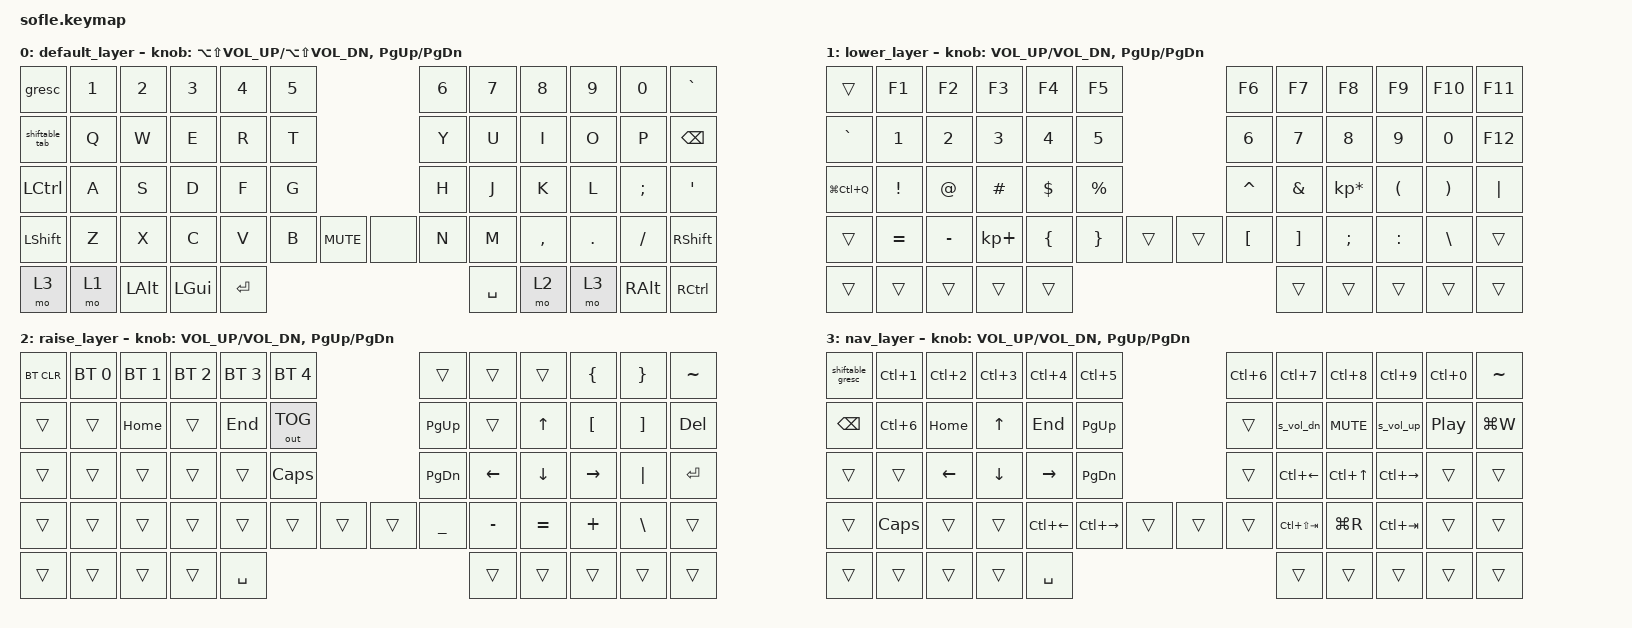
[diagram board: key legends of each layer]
/*
 * Copyright (c) 2020 The ZMK Contributors
 *
 * SPDX-License-Identifier: MIT
 */

#include <behaviors.dtsi>
#include <dt-bindings/zmk/keys.h>
#include <dt-bindings/zmk/bt.h>
#include <dt-bindings/zmk/outputs.h>

/ {
        combos {
            compatible = "zmk,combos";
            combo_c_a_r {
                timeout-ms = <50>;
                key-positions = <31 32>;
                bindings = <&kp LC(LALT)>;
            };
            combo_c_a_l {
                timeout-ms = <50>;
                key-positions = <27 28>;
                bindings = <&kp LC(LALT)>;
            };
        };
	behaviors {
	    s_vol_up: s_vol_up {
		compatible = "zmk,behavior-mod-morph";
		label = "SHIFT_VOLUME_UP";
		#binding-cells = <0>;
		bindings = <&kp C_VOL_UP>, <&kp LA(LS(C_VOL_UP))>;
		mods = <(MOD_LSFT)>;
	    };
	    s_vol_dn: s_vol_dn {
		compatible = "zmk,behavior-mod-morph";
		label = "SHIFT_VOLUME_DOWN";
		#binding-cells = <0>;
		bindings = <&kp C_VOL_DN>, <&kp LA(LS(C_VOL_DN))>;
		mods = <(MOD_LSFT)>;
	    };
	    ctrl_tab: ctrl_tab {
		compatible = "zmk,behavior-mod-morph";
		label = "GUI_CTRL_TAB";
		#binding-cells = <0>;
		bindings = <&kp LC(TAB)>, <&kp LC(LS(TAB))>;
		mods = <(MOD_LGUI)>;
	    };
	    shiftable_tab: shiftable_tab {
		compatible = "zmk,behavior-mod-morph";
		label = "CTRL_TAB";
		#binding-cells = <0>;
		bindings = <&kp TAB >, <&ctrl_tab>;
		mods = <(MOD_LCTL)>;
	    };
	    gresc: grave_escape {
		compatible = "zmk,behavior-mod-morph";
		label = "GRAVE_ESCAPE";
		#binding-cells = <0>;
		bindings = <&kp ESC>, <&kp GRAVE>;
		mods = <(MOD_LGUI)>;
		keep-mods = <(MOD_LGUI)>;
	    };
	    shiftable_gresc: shiftable_grave_escape {
		compatible = "zmk,behavior-mod-morph";
		label = "SHIFT_GRAVE_ESCAPE";
		#binding-cells = <0>;
		bindings = <&kp ESC>, <&kp LS(GRAVE)>;
		mods = <(MOD_LGUI)>;
		keep-mods = <(MOD_LGUI)>;
	    };
	};

	keymap {
	    compatible = "zmk,keymap";

	    default_layer {
	// ------------------------------------------------------------------------------------------------------------
	// |  ESC  |  1  |  2  |  3   |  4   |  5   |                   |  6   |  7    |  8    |  9   |   0   |   `   |
	// |  TAB  |  Q  |  W  |  E   |  R   |  T   |                   |  Y   |  U    |  I    |  O   |   P   | BKSPC |
	// |  CTRL |  A  |  S  |  D   |  F   |  G   |                   |  H   |  J    |  K    |  L   |   ;   |   '   |
	// | SHIFT |  Z  |  X  |  C   |  V   |  B   |  MUTE  |  |       |  N   |  M    |  ,    |  .   |   /   | SHIFT |
	//               | GUI | ALT  | CTRL | LOWER|  ENTER |  | SPACE | RAISE| CTRL  | ALT   | GUI  |

		bindings = <
	&gresc         &kp N1 &kp N2   &kp N3   &kp N4    &kp N5                         &kp N6    &kp N7    &kp N8    &kp N9    &kp N0   &kp GRAVE
	&shiftable_tab &kp Q  &kp W    &kp E    &kp R     &kp T                          &kp Y     &kp U     &kp I     &kp O     &kp P    &kp BSPC
	&kp LCTRL      &kp A  &kp S    &kp D    &kp F     &kp G                          &kp H     &kp J     &kp K     &kp L     &kp SEMI &kp SQT
	&kp LSHFT      &kp Z  &kp X    &kp C    &kp V     &kp B     &kp C_MUTE &none     &kp N     &kp M     &kp COMMA &kp DOT   &kp FSLH &kp RSHFT
        &mo 3                 &mo 1    &kp LALT &kp LGUI  &kp RET                        &kp SPACE &mo 2     &mo 3     &kp RALT           &kp RCTRL
		>;
		sensor-bindings = <&inc_dec_kp LA(LS(C_VOL_UP)) LA(LS(C_VOL_DN)) &inc_dec_kp PG_UP PG_DN>;
	    };

	    lower_layer {
	// TODO: Some binds are waiting for shifted keycode support.
	// ------------------------------------------------------------------------------------------------------------
	// |       |  F1 |  F2 |  F3  |  F4  |  F5  |                   |  F6  |  F7   |  F8   |  F9  |  F10  |  F11  |
	// | `     |   1 |   2 |   3  |   4  |   5  |                   |   6  |   7   |   8   |   9  |    0  |  F12  |
	// |       |  !  |  @  |  #   |  $   |  %   |                   |  ^   |  &    |  *    |  (   |   )   |   |   |
	// |       |  =  |  -  |  +   |  {   |  }   |        |  |       |  [   |  ]    |  ;    |  :   |   \   |       |
	//               |     |      |      |      |        |  |       |      |       |       |      |
		bindings = <
	&trans        &kp F1    &kp F2    &kp F3      &kp F4    &kp F5                    &kp F6    &kp F7   &kp F8          &kp F9    &kp F10   &kp F11
	&kp GRAVE     &kp N1    &kp N2    &kp N3      &kp N4    &kp N5                    &kp N6    &kp N7   &kp N8          &kp N9    &kp N0    &kp F12
	&kp LG(LC(Q)) &kp EXCL  &kp AT    &kp HASH    &kp DLLR  &kp PRCNT                 &kp CARET &kp AMPS &kp KP_MULTIPLY &kp LPAR  &kp RPAR  &kp PIPE
	&trans        &kp EQUAL &kp MINUS &kp KP_PLUS &kp LBRC  &kp RBRC  &trans   &trans &kp LBKT  &kp RBKT &kp SEMI        &kp COLON &kp BSLH  &trans
			    &trans    &trans      &trans    &trans    &trans   &trans &trans    &trans   &trans          &trans
		>;
		sensor-bindings = <&inc_dec_kp C_VOL_UP C_VOL_DN &inc_dec_kp PG_UP PG_DN>;
	    };

	    raise_layer {
	// ------------------------------------------------------------------------------------------------------------
	// |BTCLR| BT1  | BT2  |  BT3  |  BT4  |  BT5 |                |      |      |       |      |       |       |
	// |     | INS  | PSCR | GUI   |       |      |                | PGUP |      |   ^   |      |       |       |
	// |     | ALT  | CTRL | SHIFT |       | CAPS |                | PGDN |   <- |   v   |  ->  |  DEL  | BKSPC |
	// |     | UNDO | CUT  | COPY  | PASTE |      |      |  |      |      |      |       |      |       |       |
	//              |      |       |       |      |      |  |      |      |      |       |      |
		bindings = <
	&bt BT_CLR &bt BT_SEL 0 &bt BT_SEL 1 &bt BT_SEL 2 &bt BT_SEL 3 &bt BT_SEL 4                &trans    &trans    &trans    &kp LBRC  &kp RBRC &kp TILDE
	&trans     &trans       &kp HOME     &trans       &kp END      &out OUT_TOG                &kp PG_UP &trans    &kp UP    &kp LBKT  &kp RBKT &kp DEL
	&trans     &trans       &trans       &trans       &trans       &kp CLCK                    &kp PG_DN &kp LEFT  &kp DOWN  &kp RIGHT &kp PIPE &kp RET 
	&trans     &trans       &trans       &trans       &trans       &trans    &trans    &trans  &kp UNDER &kp MINUS &kp EQUAL &kp PLUS  &kp BSLH &trans
				&trans       &trans       &trans       &trans    &kp SPACE &trans  &trans    &trans    &trans    &trans
		>;
		sensor-bindings = <&inc_dec_kp C_VOL_UP C_VOL_DN &inc_dec_kp PG_UP PG_DN>;
	    };
            nav_layer {
                bindings = <
   &shiftable_gresc  &kp LC(N1) &kp LC(N2) &kp LC(N3) &kp LC(N4)    &kp LC(N5)                     &kp LC(N6) &kp LC(N7)      &kp LC(N8) &kp LC(N9)      &kp LC(N0) &kp TILDE
   &kp BSPC          &kp LC(N6) &kp HOME   &kp UP     &kp END       &kp PG_UP                      &trans     &s_vol_dn       &kp C_MUTE &s_vol_up       &kp C_PP   &kp LG(W) 
   &trans            &trans     &kp LEFT   &kp DOWN   &kp RIGHT     &kp PG_DN                      &trans     &kp LC(LEFT)    &kp LC(UP) &kp LC(RIGHT)   &trans     &trans 
   &trans            &kp CAPS   &trans     &trans     &kp LC(LEFT)  &kp LC(RIGHT)  &trans  &trans  &trans     &kp LC(LS(TAB)) &kp LG(R)  &kp LC(TAB)     &trans     &trans 
   &trans                       &trans     &trans     &trans        &kp SPACE                      &trans          &trans     &trans          &trans     &trans 
		>;
		sensor-bindings = <&inc_dec_kp C_VOL_UP C_VOL_DN &inc_dec_kp PG_UP PG_DN>;
	    };
      };
};

//&nice_view_spi {
//    cs-gpios = <&pro_micro 1 GPIO_ACTIVE_HIGH>;
//};
